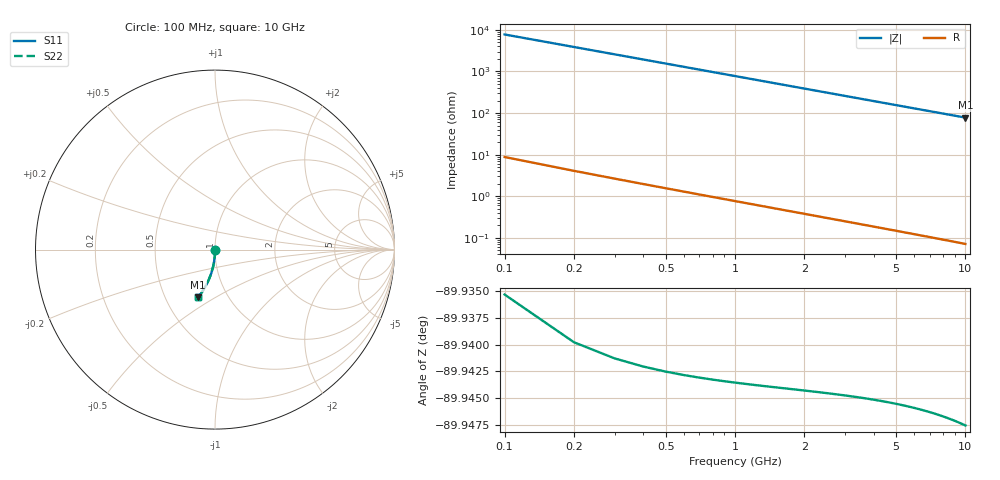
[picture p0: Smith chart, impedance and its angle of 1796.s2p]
# Hz S RI R 50.00
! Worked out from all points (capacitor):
!   100 points, 100 MHz to 10 GHz, reference 50 ohm
!   read as one part in shunt: C = 205 fF near 100 MHz
!   lowest |Z| = 77.7 ohm at 10 GHz (marker M1)
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1e8  0.000205 -0.00295  0.9998 -0.0035  0.9998 -0.0035  0.000205 -0.00295
2e8  0.000173 -0.00591  0.9997 -0.007  0.9997 -0.007  0.000173 -0.00591
3e8  0.000119 -0.00886  0.9997 -0.0105  0.9997 -0.0105  0.000119 -0.00886
4e8  4.42e-05 -0.0118  0.9996 -0.014  0.9996 -0.014  4.42e-05 -0.0118
5e8  -5.12e-05 -0.0148  0.9995 -0.0175  0.9995 -0.0175  -5.12e-05 -0.0148
6e8  -0.000167 -0.0177  0.9994 -0.021  0.9994 -0.021  -0.000167 -0.0177
7e8  -0.000304 -0.0207  0.9992 -0.0245  0.9992 -0.0245  -0.000304 -0.0207
8e8  -0.000462 -0.0236  0.9991 -0.028  0.9991 -0.028  -0.000462 -0.0236
9e8  -0.00064 -0.0266  0.9989 -0.0315  0.9989 -0.0315  -0.00064 -0.0266
1.1e9  -0.00106 -0.0325  0.9985 -0.0385  0.9985 -0.0385  -0.00106 -0.0325
1.4e9  -0.00184 -0.0413  0.9977 -0.0489  0.9977 -0.0489  -0.00184 -0.0413
1.8e9  -0.00317 -0.053  0.9963 -0.0628  0.9963 -0.0628  -0.00317 -0.053
2.1e9  -0.00438 -0.0617  0.9951 -0.0732  0.9951 -0.0732  -0.00438 -0.0617
2.5e9  -0.00627 -0.0734  0.9932 -0.087  0.9932 -0.087  -0.00627 -0.0734
2.9e9  -0.00849 -0.0849  0.9909 -0.1008  0.9909 -0.1008  -0.00849 -0.0849
3.4e9  -0.0117 -0.0992  0.9877 -0.1178  0.9877 -0.1178  -0.0117 -0.0992
4.2e9  -0.0179 -0.1218  0.9814 -0.1447  0.9814 -0.1447  -0.0179 -0.1218
5.1e9  -0.0262 -0.1466  0.9729 -0.1745  0.9729 -0.1745  -0.0262 -0.1466
5.9e9  -0.0348 -0.168  0.9642 -0.2003  0.9642 -0.2003  -0.0348 -0.168
6.7e9  -0.0446 -0.1888  0.9543 -0.2255  0.9543 -0.2255  -0.0446 -0.1888
8.4e9  -0.0685 -0.2304  0.9299 -0.2765  0.9299 -0.2765  -0.0685 -0.2304
1e10  -0.0947 -0.2662  0.9033 -0.3211  0.9033 -0.3211  -0.0947 -0.2662
